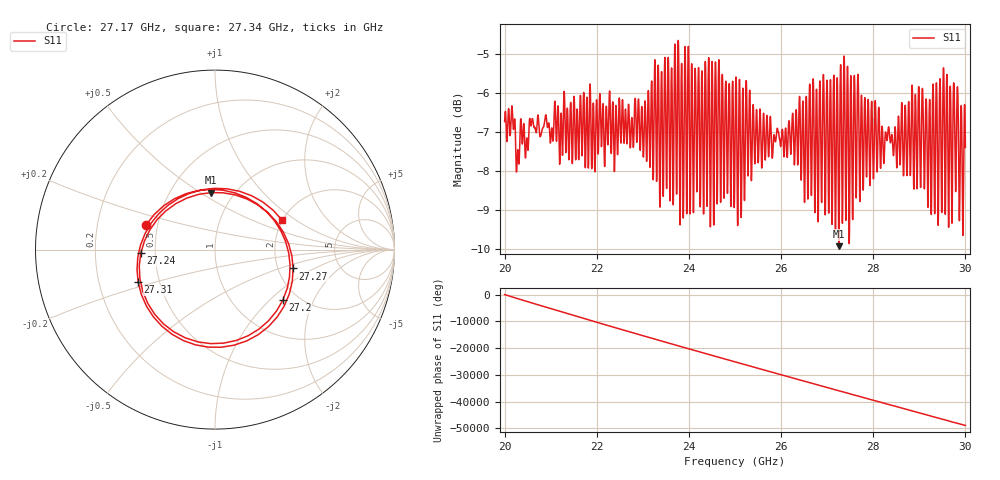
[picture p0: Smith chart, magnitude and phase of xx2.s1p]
#  HZ  S  RI  R  50.00
! Rohde & Schwarz ZVA40 4Ports - Version 3.90 - 1145.1110k42 SN: 100403
! Date: 2023-09-28 11:58:20
! Measurement: S22
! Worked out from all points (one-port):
!   5001 points, 20 GHz to 30 GHz, reference 50 ohm
!   lowest |S11| = -9.9 dB at 27.25 GHz (marker M1), VSWR 1.93, Z = 39.2 + j27.7 ohm
!   |S11| at or under -10 dB: nowhere
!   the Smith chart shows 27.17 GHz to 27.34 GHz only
!   S11 on the Smith chart (normalised r, x): 27.17 GHz: 0.43, +0.14; 27.2 GHz: 1.66, -1.21; 27.24 GHz: 0.41, -0.02; 27.27 GHz: 2.42, -0.64; 27.31 GHz: 0.38, -0.18; 27.34 GHz: 1.99, +0.78
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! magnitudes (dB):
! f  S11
! 20 GHz  -6.7
! 20.28 GHz  -7.5
! 21.25 GHz  -7.5
! 22.5 GHz  -6.4
! 23.41 GHz  -5.4
! 23.52 GHz  -8.5
! 23.62 GHz  -5.4
! 23.75 GHz  -6.4
! 23.84 GHz  -5.2
! 23.95 GHz  -9.1
! 24.06 GHz  -5.3
! 24.17 GHz  -8.5
! 24.28 GHz  -5.4
! 24.39 GHz  -8.9
! 24.5 GHz  -5.2
! 24.61 GHz  -8.8
! 25 GHz  -7.3
! 26.25 GHz  -6.5
! 27.17 GHz  -7.8
! 27.2 GHz  -6.5
! 27.24 GHz  -7.7
! 27.25 GHz  -9.9
! 27.27 GHz  -7.0
! 27.31 GHz  -6.7
! 27.34 GHz  -7.8
! 27.5 GHz  -6.6
! 28.75 GHz  -7.1
! 30 GHz  -7.4
